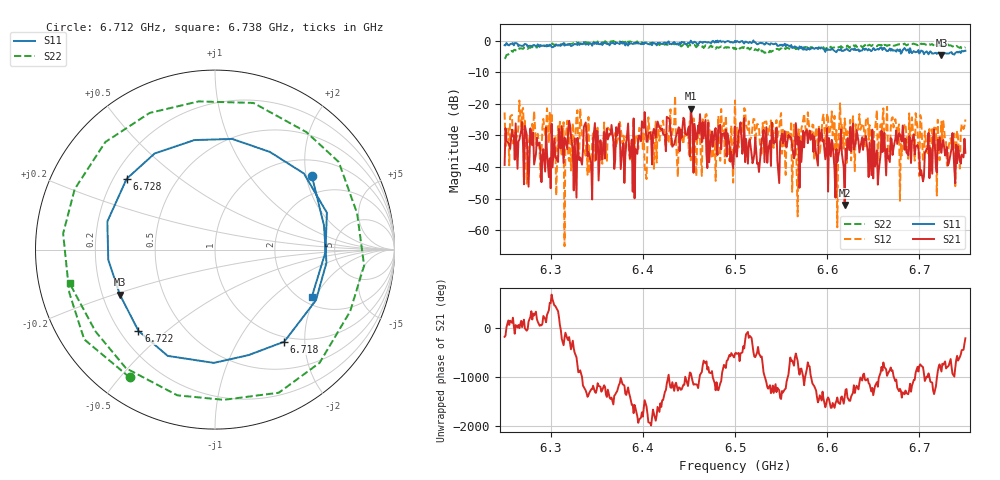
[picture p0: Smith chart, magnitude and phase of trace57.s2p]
# Hz S RI R 50
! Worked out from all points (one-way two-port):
!   401 points, 6.25 GHz to 6.75 GHz, reference 50 ohm
!   highest |S21| = -21.56 dB at 6.452 GHz (marker M1); lowest = -52.0 dB at 6.619 GHz (marker M2)
!   lowest |S11| = -4.6 dB at 6.724 GHz (marker M3), VSWR 3.84, Z = 13.6 - j10.4 ohm
!   |S11| at or under -10 dB: nowhere
!   |S22| runs from -5.7 to -0.1 dB; largest |S21 - S12| = 0.16
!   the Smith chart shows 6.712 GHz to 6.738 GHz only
!   S11 on the Smith chart (normalised r, x): 6.712 GHz: 1.44, +2.16; 6.718 GHz: 0.92, -1.60; 6.722 GHz: 0.27, -0.40; 6.728 GHz: 0.25, +0.33; 6.738 GHz: 2.26, -1.87
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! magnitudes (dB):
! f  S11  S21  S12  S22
! 6.25 GHz  -1.4  -39.4  -22.7  -5.7
! 6.269 GHz  -1.6  -25.8  -22.1  -2.5
! 6.276 GHz  -1.7  -46.2  -32.4  -2.3
! 6.299 GHz  -1.3  -37.2  -22.9  -1.4
! 6.318 GHz  -1.3  -34.3  -25.4  -1.2
! 6.334 GHz  -1.1  -39.3  -30.0  -0.9
! 6.364 GHz  -1.5  -29.5  -28.3  -0.4
! 6.391 GHz  -0.7  -49.9  -34.0  -0.9
! 6.418 GHz  -0.7  -27.5  -31.7  -1.4
! 6.452 GHz  0.0  -21.6  -37.9  -1.5
! 6.5 GHz  -0.1  -27.2  -18.9  -2.3
! 6.584 GHz  -2.4  -29.6  -26.6  -2.2
! 6.619 GHz  -2.9  -52.0  -24.7  -2.1
! 6.625 GHz  -3.2  -27.4  -25.1  -2.0
! 6.668 GHz  -2.5  -38.4  -37.4  -1.4
! 6.712 GHz  -3.4  -34.1  -41.1  -1.3
! 6.718 GHz  -3.9  -40.2  -27.7  -1.4
! 6.722 GHz  -4.1  -30.6  -37.9  -1.5
! 6.724 GHz  -4.6  -35.5  -25.7  -1.6
! 6.728 GHz  -4.0  -36.4  -31.4  -1.6
! 6.738 GHz  -4.4  -40.7  -29.4  -1.6
! 6.75 GHz  -3.2  -35.5  -25.0  -2.1
